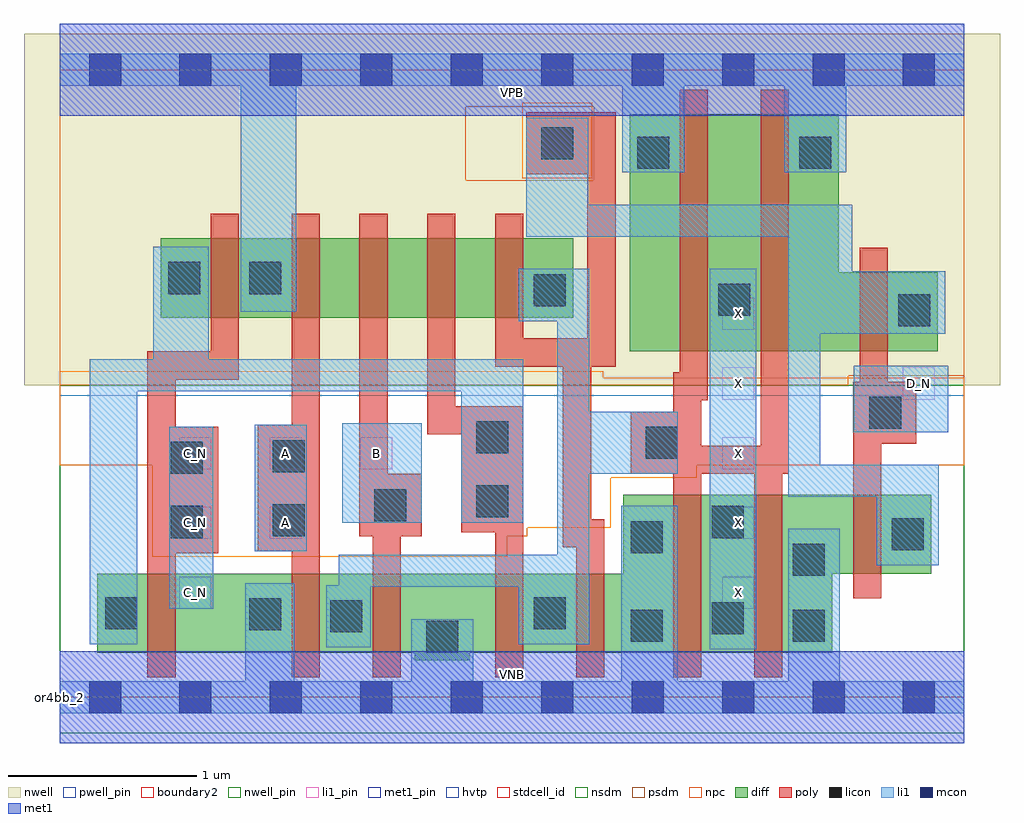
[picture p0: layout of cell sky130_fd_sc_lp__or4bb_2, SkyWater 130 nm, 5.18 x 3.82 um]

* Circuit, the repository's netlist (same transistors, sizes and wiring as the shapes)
* Copyright 2020 The SkyWater PDK Authors
*
* Licensed under the Apache License, Version 2.0 (the "License");
* you may not use this file except in compliance with the License.
* You may obtain a copy of the License at
*
*     https://www.apache.org/licenses/LICENSE-2.0
*
* Unless required by applicable law or agreed to in writing, software
* distributed under the License is distributed on an "AS IS" BASIS,
* WITHOUT WARRANTIES OR CONDITIONS OF ANY KIND, either express or implied.
* See the License for the specific language governing permissions and
* limitations under the License.
*
* SPDX-License-Identifier: Apache-2.0

.SUBCKT sky130_fd_sc_lp__or4bb_2 A B C_N D_N VGND VNB VPB VPWR X
*.PININFO A:I B:I C_N:I D_N:I VGND:I VNB:I VPB:I VPWR:I X:O
MMP0 VPWR A sndPA VPB sky130_fd_pr__pfet_01v8_hvt m=1 w=0.42U l=0.15U mult=1 sa=0.265
+ sb=0.265 sd=0.28 area=0.063 perim=1.14
MMP1 sndPA B sndPB VPB sky130_fd_pr__pfet_01v8_hvt m=1 w=0.42U l=0.15U mult=1 sa=0.265
+ sb=0.265 sd=0.28 area=0.063 perim=1.14
MMP2 sndPB C sndPC VPB sky130_fd_pr__pfet_01v8_hvt m=1 w=0.42U l=0.15U mult=1 sa=0.265
+ sb=0.265 sd=0.28 area=0.063 perim=1.14
MMP3 sndPC D y VPB sky130_fd_pr__pfet_01v8_hvt m=1 w=0.42U l=0.15U mult=1 sa=0.265
+ sb=0.265 sd=0.28 area=0.063 perim=1.14
MMIP2 C C_N VPWR VPB sky130_fd_pr__pfet_01v8_hvt m=1 w=0.42U l=0.15U mult=1 sa=0.265
+ sb=0.265 sd=0.28 area=0.063 perim=1.14
MMIP3 D D_N VPWR VPB sky130_fd_pr__pfet_01v8_hvt m=1 w=0.42U l=0.15U mult=1 sa=0.265
+ sb=0.265 sd=0.28 area=0.063 perim=1.14
MMIP4 X y VPWR VPB sky130_fd_pr__pfet_01v8_hvt m=2 w=1.26U l=0.15U mult=1 sa=0.265
+ sb=0.265 sd=0.28 area=0.063 perim=1.14
MMN0 y A VGND VNB sky130_fd_pr__nfet_01v8 m=1 w=0.42U l=0.15U mult=1 sa=0.265 sb=0.265
+ sd=0.28 area=0.063 perim=1.14
MMN1 y B VGND VNB sky130_fd_pr__nfet_01v8 m=1 w=0.42U l=0.15U mult=1 sa=0.265 sb=0.265
+ sd=0.28 area=0.063 perim=1.14
MMN2 y C VGND VNB sky130_fd_pr__nfet_01v8 m=1 w=0.42U l=0.15U mult=1 sa=0.265 sb=0.265
+ sd=0.28 area=0.063 perim=1.14
MMN3 y D VGND VNB sky130_fd_pr__nfet_01v8 m=1 w=0.42U l=0.15U mult=1 sa=0.265 sb=0.265
+ sd=0.28 area=0.063 perim=1.14
MMIN2 C C_N VGND VNB sky130_fd_pr__nfet_01v8 m=1 w=0.42U l=0.15U mult=1 sa=0.265
+ sb=0.265 sd=0.28 area=0.063 perim=1.14
MMIN3 D D_N VGND VNB sky130_fd_pr__nfet_01v8 m=1 w=0.42U l=0.15U mult=1 sa=0.265
+ sb=0.265 sd=0.28 area=0.063 perim=1.14
MMIN4 X y VGND VNB sky130_fd_pr__nfet_01v8 m=2 w=0.84U l=0.15U mult=1 sa=0.265
+ sb=0.265 sd=0.28 area=0.063 perim=1.14
.ENDS sky130_fd_sc_lp__or4bb_2

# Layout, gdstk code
import gdstk
lib = gdstk.Library(unit=1e-6, precision=1e-09)
def R(c, l, rs):  # rectangles x0, y0, x1, y1
    for r in rs: c.add(gdstk.rectangle(r[:2], r[2:], *l))
def A(c, l, x, y, w, h, nx, ny, dx, dy):  # array of equal rectangles
    R(c, l, [(x+i*dx, y+j*dy, x+i*dx+w, y+j*dy+h) for i in range(nx) for j in range(ny)])
def P(c, l, *ps):  # polygons
    for p in ps: c.add(gdstk.Polygon(p, *l))
nwell_pin = (64, 16)
nwell = (64, 20)
diff = (65, 20)
poly = (66, 20)
licon = (66, 44)
li1_pin = (67, 16)
li1 = (67, 20)
mcon = (67, 44)
met1_pin = (68, 16)
met1 = (68, 20)
hvtp = (78, 44)
stdcell_id = (81, 4)
nsdm = (93, 44)
psdm = (94, 20)
npc = (95, 20)
pwell_pin = (122, 16)
boundary2 = (236, 0)

sky130_fd_sc_lp__or4bb_2 = lib.new_cell('sky130_fd_sc_lp__or4bb_2')
R(sky130_fd_sc_lp__or4bb_2, nwell_pin, [(0,3.085,4.8,3.33)])
R(sky130_fd_sc_lp__or4bb_2, nwell, [(-0.19,1.655,4.99,3.52)])
R(sky130_fd_sc_lp__or4bb_2, diff, [(0.535,2.015,2.725,2.435)])
P(sky130_fd_sc_lp__or4bb_2, diff, [(4.625,1.075),(2.99,1.075),(2.99,0.655),(0.2,0.655),(0.2,0.235),(1.885,0.235),(1.885,0.195),(2.175,0.195),(2.175,0.235),(4.1,0.235),(4.1,0.655),(4.625,0.655)],
  [(4.66,2.255),(4.135,2.255),(4.135,3.095),(3.025,3.095),(3.025,1.835),(4.66,1.835)])
P(sky130_fd_sc_lp__or4bb_2, poly, [(0.95,2.565),(0.8,2.565),(0.8,1.835),(0.465,1.835),(0.465,0.105),(0.615,0.105),(0.615,0.765),(0.84,0.765),(0.84,1.435),(0.615,1.435),(0.615,1.685),(0.95,1.685)],
  [(1.38,2.565),(1.23,2.565),(1.23,1.445),(1.05,1.445),(1.05,0.775),(1.23,0.775),(1.23,0.105),(1.38,0.105)],
  [(1.81,0.855),(1.92,0.855),(1.92,1.185),(1.74,1.185),(1.74,2.565),(1.59,2.565),(1.59,0.855),(1.66,0.855),(1.66,0.105),(1.81,0.105)],
  [(2.46,1.545),(2.1,1.545),(2.1,2.565),(1.95,2.565),(1.95,1.395),(2.13,1.395),(2.13,0.875),(2.31,0.875),(2.31,0.105),(2.46,0.105)],
  [(2.95,3.105),(2.475,3.105),(2.475,2.775),(2.8,2.775),(2.8,1.905),(2.46,1.905),(2.46,2.565),(2.31,2.565),(2.31,1.755),(2.67,1.755),(2.67,0.795),(2.74,0.795),(2.74,0.105),(2.89,0.105),(2.89,0.945),(2.82,0.945),(2.82,1.755),(2.95,1.755)],
  [(3.87,3.225),(3.72,3.225),(3.72,1.335),(3.405,1.335),(3.405,1.575),(3.44,1.575),(3.44,3.225),(3.29,3.225),(3.29,1.725),(3.255,1.725),(3.255,1.515),(3.03,1.515),(3.03,1.185),(3.255,1.185),(3.255,0.105),(3.405,0.105),(3.405,1.185),(3.685,1.185),(3.685,0.105),(3.835,0.105),(3.835,1.185),(3.87,1.185)],
  [(4.545,1.675),(4.395,1.675),(4.395,2.385),(4.245,2.385),(4.245,1.675),(4.21,1.675),(4.21,0.525),(4.36,0.525),(4.36,1.345),(4.545,1.345)])
R(sky130_fd_sc_lp__or4bb_2, licon, [(1.945,0.235,2.115,0.405), (3.03,0.295,3.2,0.465), (3.89,0.295,4.06,0.465), (3.46,0.335,3.63,0.505), (1.435,0.345,1.605,0.515), (1.005,0.355,1.175,0.525), (0.24,0.36,0.41,0.53), (2.515,0.36,2.685,0.53), (3.89,0.645,4.06,0.815), (3.03,0.765,3.2,0.935), (4.415,0.78,4.585,0.95), (0.59,0.845,0.76,1.015), (3.46,0.845,3.63,1.015), (1.13,0.855,1.3,1.025), (1.67,0.935,1.84,1.105), (2.21,0.955,2.38,1.125), (0.59,1.185,0.76,1.355), (1.13,1.195,1.3,1.365), (3.11,1.265,3.28,1.435), (2.21,1.295,2.38,1.465), (4.295,1.425,4.465,1.595), (4.45,1.97,4.62,2.14), (3.495,2.025,3.665,2.195), (2.515,2.075,2.685,2.245), (0.575,2.14,0.745,2.31), (1.005,2.14,1.175,2.31), (3.065,2.805,3.235,2.975), (3.925,2.805,4.095,2.975), (2.555,2.855,2.725,3.025)])
A(sky130_fd_sc_lp__or4bb_2, li1_pin, 3.515, 0.47, 0.17, 0.17, 1, 5, 0, 0.37)
A(sky130_fd_sc_lp__or4bb_2, li1_pin, 0.635, 1.21, 0.17, 0.17, 3, 1, 0.48, 0)
R(sky130_fd_sc_lp__or4bb_2, li1_pin, [(0.635,0.47,0.805,0.64), (0.635,0.84,0.805,1.01), (1.115,0.84,1.285,1.01), (4.475,1.58,4.645,1.75)])
R(sky130_fd_sc_lp__or4bb_2, li1, [(3.45,0.255,3.695,2.275), (0.58,0.47,0.815,1.435), (1.035,0.775,1.31,1.445), (1.5,0.925,1.92,1.455), (4.215,1.405,4.715,1.76)])
P(sky130_fd_sc_lp__or4bb_2, li1, [(2.985,2.785),(2.985,3.245),(1.255,3.245),(1.255,2.045),(0.96,2.045),(0.96,3.245),(0,3.245),(0,3.415),(4.8,3.415),(4.8,3.245),(4.175,3.245),(4.175,2.785),(3.845,2.785),(3.845,3.245),(3.315,3.245),(3.315,2.785)],
  [(1.865,0.085),(1.865,0.415),(2.195,0.415),(2.195,0.085),(2.98,0.085),(2.98,1.015),(3.28,1.015),(3.28,0.085),(3.865,0.085),(3.865,0.895),(4.14,0.895),(4.14,0.085),(4.8,0.085),(4.8,-0.085),(0,-0.085),(0,0.085),(0.985,0.085),(0.985,0.605),(1.245,0.605),(1.245,0.085)],
  [(2.475,2.445),(2.475,3.075),(2.805,3.075),(2.805,2.615),(4.205,2.615),(4.205,2.26),(4.7,2.26),(4.7,1.93),(4.035,1.93),(4.035,1.235),(4.665,1.235),(4.665,0.7),(4.335,0.7),(4.335,1.065),(3.865,1.065),(3.865,2.445)],
  [(2.81,1.515),(3.28,1.515),(3.28,1.185),(2.81,1.185),(2.81,0.28),(2.435,0.28),(2.435,0.585),(1.65,0.585),(1.65,0.265),(1.415,0.265),(1.415,0.595),(1.48,0.595),(1.48,0.755),(2.64,0.755),(2.64,1.995),(2.435,1.995),(2.435,2.275),(2.81,2.275)],
  [(0.495,1.795),(0.495,2.39),(0.79,2.39),(0.79,1.795),(2.46,1.795),(2.46,0.925),(2.13,0.925),(2.13,1.625),(0.41,1.625),(0.41,0.28),(0.16,0.28),(0.16,1.795)])
A(sky130_fd_sc_lp__or4bb_2, mcon, 0.155, -0.085, 0.17, 0.17, 10, 2, 0.48, 3.33)
R(sky130_fd_sc_lp__or4bb_2, met1_pin, [(0,0,4.8,0.245), (0,3.085,4.8,3.33)])
R(sky130_fd_sc_lp__or4bb_2, met1, [(0,-0.245,4.8,0.245), (0,3.085,4.8,3.575)])
R(sky130_fd_sc_lp__or4bb_2, hvtp, [(0,1.6,4.8,3.33)])
R(sky130_fd_sc_lp__or4bb_2, stdcell_id, [(0,0,4.8,3.33)])
R(sky130_fd_sc_lp__or4bb_2, nsdm, [(0,-0.19,4.8,1.655)])
P(sky130_fd_sc_lp__or4bb_2, psdm, [(4.8,3.52),(2.835,3.52),(2.835,2.745),(2.155,2.745),(2.155,3.135),(2.835,3.135),(2.835,3.52),(0,3.52),(0,1.655),(4.185,1.655),(4.185,1.705),(4.8,1.705)])
R(sky130_fd_sc_lp__or4bb_2, npc, [(2.455,2.755,2.825,3.155)])
P(sky130_fd_sc_lp__or4bb_2, npc, [(4.8,1.695),(2.885,1.695),(2.885,1.73),(0,1.73),(0,1.23),(0.49,1.23),(0.49,0.745),(2.375,0.745),(2.375,0.855),(2.48,0.855),(2.48,0.9),(2.925,0.9),(2.925,1.165),(3.38,1.165),(3.38,1.23),(4.8,1.23)])
R(sky130_fd_sc_lp__or4bb_2, pwell_pin, [(0,0,4.8,0.245)])
R(sky130_fd_sc_lp__or4bb_2, boundary2, [(0,0,4.8,3.33)])
sky130_fd_sc_lp__or4bb_2.add(gdstk.Label('VNB', (2.4,0.123), layer=64, texttype=59))
sky130_fd_sc_lp__or4bb_2.add(gdstk.Label('VPB', (2.4,3.208), layer=64, texttype=5))
sky130_fd_sc_lp__or4bb_2.add(gdstk.Label('or4bb_2', (0,0), layer=83, texttype=44))
sky130_fd_sc_lp__or4bb_2.add(gdstk.Label('VPWR', (2.4,3.208), layer=68, texttype=5))
sky130_fd_sc_lp__or4bb_2.add(gdstk.Label('VGND', (2.4,0.123), layer=68, texttype=5))
sky130_fd_sc_lp__or4bb_2.add(gdstk.Label('A', (1.2,0.925), layer=67, texttype=5))
sky130_fd_sc_lp__or4bb_2.add(gdstk.Label('A', (1.2,1.295), layer=67, texttype=5))
sky130_fd_sc_lp__or4bb_2.add(gdstk.Label('B', (1.68,1.295), layer=67, texttype=5))
sky130_fd_sc_lp__or4bb_2.add(gdstk.Label('C_N', (0.72,0.555), layer=67, texttype=5))
sky130_fd_sc_lp__or4bb_2.add(gdstk.Label('C_N', (0.72,0.925), layer=67, texttype=5))
sky130_fd_sc_lp__or4bb_2.add(gdstk.Label('C_N', (0.72,1.295), layer=67, texttype=5))
sky130_fd_sc_lp__or4bb_2.add(gdstk.Label('D_N', (4.56,1.665), layer=67, texttype=5))
sky130_fd_sc_lp__or4bb_2.add(gdstk.Label('X', (3.6,0.555), layer=67, texttype=5))
sky130_fd_sc_lp__or4bb_2.add(gdstk.Label('X', (3.6,0.925), layer=67, texttype=5))
sky130_fd_sc_lp__or4bb_2.add(gdstk.Label('X', (3.6,1.295), layer=67, texttype=5))
sky130_fd_sc_lp__or4bb_2.add(gdstk.Label('X', (3.6,1.665), layer=67, texttype=5))
sky130_fd_sc_lp__or4bb_2.add(gdstk.Label('X', (3.6,2.035), layer=67, texttype=5))

lib.write_gds('sky130_fd_sc_lp__or4bb_2.gds')
